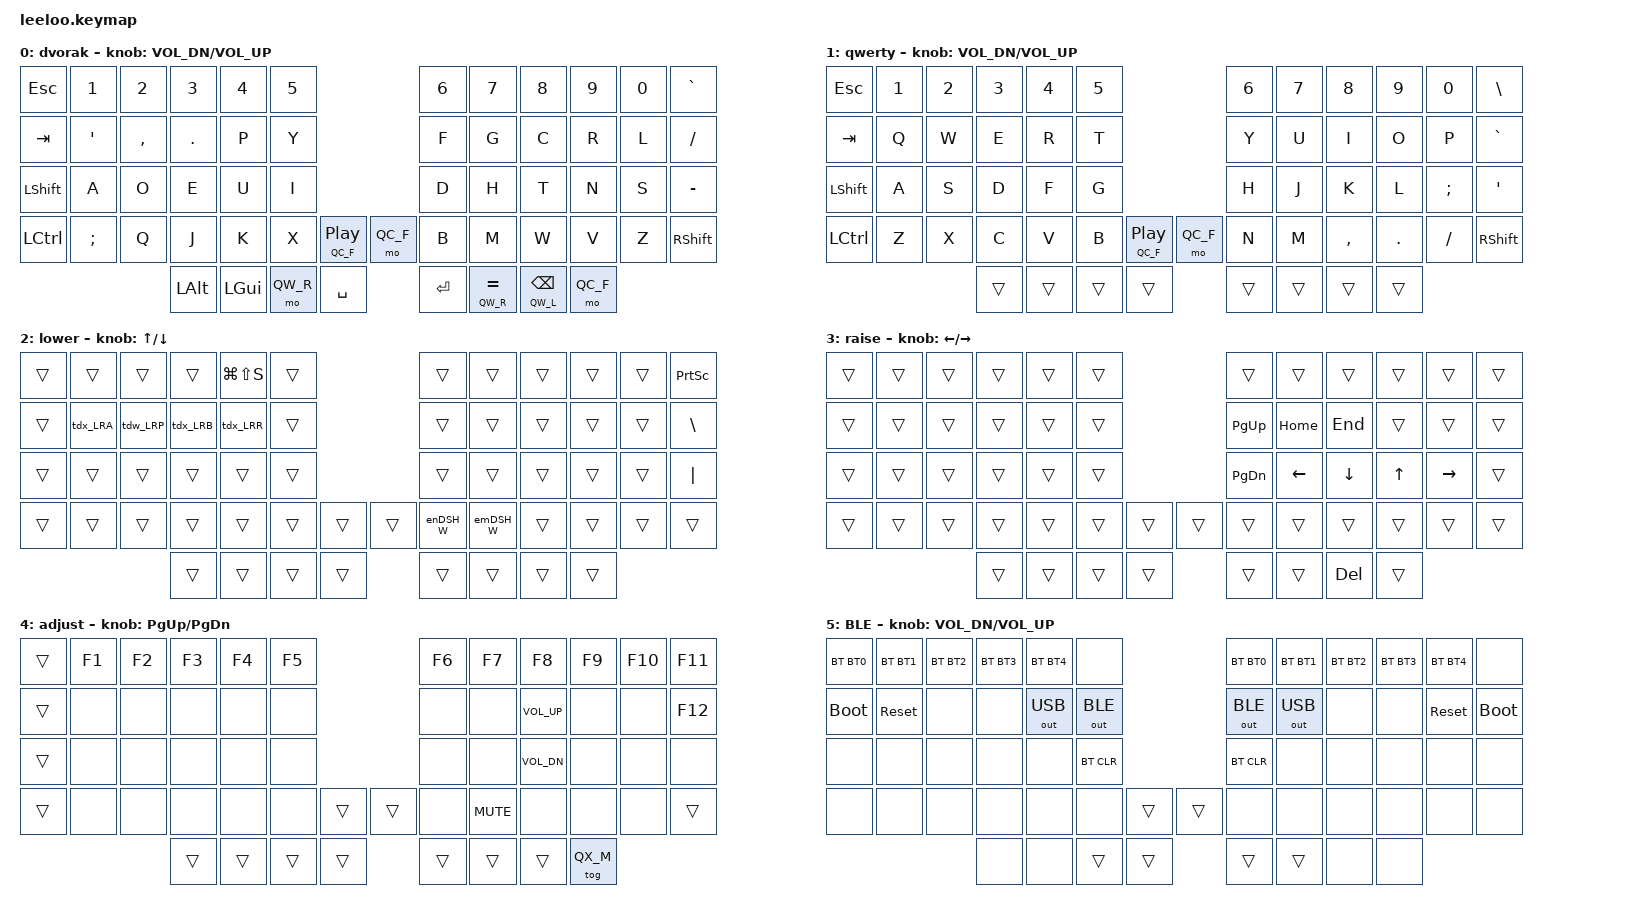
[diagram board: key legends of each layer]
/*
 * Copyright (c) 2020 The ZMK Contributors
 *
 * SPDX-License-Identifier: MIT
 */
#include <behaviors.dtsi>
#include <dt-bindings/zmk/outputs.h>
#include <dt-bindings/zmk/keys.h>
#include <dt-bindings/zmk/bt.h>


// Layers
#define QW_M    0       // dvorak

#define QX_M    1       // qwerty

#define QW_L    2       // Lower
#define QW_R    3       // Raise
#define QW_A    4       // Adjust


#define QC_F    5       // Firmware


// Short versions
#define WIN_SC  LG(LS(S))
#define OSX_SC  LG(LS(N4))

#define enDSH_X LA(MINUS)
#define emDSH_X LS(LA(MINUS))

#define BT0     BT_SEL 0
#define BT1     BT_SEL 1
#define BT2     BT_SEL 2
#define BT3     BT_SEL 3
#define BT4     BT_SEL 4

#define VOLUP   C_VOL_UP
#define VOLDN   C_VOL_DN
#define VOLMT   C_MUTE


/*
 * Assign the cs-gpios pin to 4.
 * Uncomment these next few lines if implementing nice!view Displays
 */
// nice_view_spi: &spi0 {
//    compatible = "nordic,nrf-spim";
//    pinctrl-0 = <&spi0_default>;
//    pinctrl-1 = <&spi0_sleep>;
//    pinctrl-names = "default", "sleep";
//    cs-gpios = <&pro_micro 4 GPIO_ACTIVE_HIGH>;
// };


// Rotary Encoder Resolution
&left_encoder { resolution = <2>; };
&right_encoder { resolution = <2>; };

/ {
    conditional_layers {
        compatible = "zmk,conditional-layers";
        adjust_dvorak_layer {
            if-layers = <QW_L QW_R>;
            then-layer = <QW_A>;
        };
    };

    combos {
        compatible = "zmk,combos";

        // combo_quit_app_win {
        //     timeout-ms = <50>;
        //     key-positions = <13 17>;
        //     layers = <QW_M>;
        //     bindings = <&kp LA(F4)>;
        // };

        combo_shift_gui {
            timeout-ms = <50>;
            key-positions = <24 51>;
            layers = <QW_M>;
            bindings = <&kp LG(LSHIFT)>;
        };
        combo_ctrl_shift_gui {
            timeout-ms = <50>;
            key-positions = <24 36 51>;
            layers = <QW_M>;
            bindings = <&kp LG(LC(LSHIFT))>;
        };
    };

    macros {
        enDSH_W: en_Dash {
            label = "enDSH_W";
            compatible = "zmk,behavior-macro";
            #binding-cells = <0>;
            wait-ms = <20>;
            tap-ms = <20>;
            bindings
                = <&macro_press   &kp LALT>
                , <&macro_tap     &kp KP_N0 &kp KP_N1 &kp KP_N5 &kp KP_N0>
                , <&macro_release &kp LALT>
                ;
        };

        emDSH_W: em_Dash {
            label = "emDSH_W";
            compatible = "zmk,behavior-macro";
            #binding-cells = <0>;
            wait-ms = <20>;
            tap-ms = <20>;
            bindings
                = <&macro_press   &kp LALT>
                , <&macro_tap     &kp KP_N0 &kp KP_N1 &kp KP_N5 &kp KP_N1>
                , <&macro_release &kp LALT>
                ;
        };
    };

    behaviors {
        tdw_Q: tap_dance_0 {
            compatible = "zmk,behavior-tap-dance";
            label = "WIN_QUIT";
            #binding-cells = <0>;
            tapping-term-ms = <200>;
            bindings = <&kp Q>, <&kp LA(F4)>;
        };

        tdw_LRP: tap_dance_1 {
            compatible = "zmk,behavior-tap-dance";
            label = "WIN_LRPAR";
            #binding-cells = <0>;
            tapping-term-ms = <200>;
            bindings = <&kp LPAR>, <&kp RPAR>;
        };

        tdx_LRB: tap_dance_2 {
            compatible = "zmk,behavior-tap-dance";
            label = "WIN_LRBKT";
            #binding-cells = <0>;
            tapping-term-ms = <200>;
            bindings = <&kp LBKT>, <&kp RBKT>;
        };

        tdx_LRR: tap_dance_3 {
            compatible = "zmk,behavior-tap-dance";
            label = "WIN_LRBRC";
            #binding-cells = <0>;
            tapping-term-ms = <200>;
            bindings = <&kp LBRC>, <&kp RBRC>;
        };

        tdx_LRA: tap_dance_4 {
            compatible = "zmk,behavior-tap-dance";
            label = "WIN_LRANG";
            #binding-cells = <0>;
            tapping-term-ms = <200>;
            bindings = <&kp LT>, <&kp GT>;
        };
    };

    keymap {
        compatible = "zmk,keymap";

        default_dvorak_layer {
            label = " dvorak";
// dvorak
// ------------------------------------------------------------------------------------------------------------
// |  ESC  |  1  |  2  |  3   |  4   |  5   |                   |  6   |  7    |  8    |  9   |   0   |   `   |
// |  TAB  |  '  |  ,  |  .   |  P   |  Y   |                   |  F   |  G    |  C    |  R   |   L   |   /   |
// | SHIFT |  A  |  O  |  E   |  U   |  I   |                   |  D   |  H    |  T    |  N   |   S   |   -   |
// |  CTRL |  ;  |  Q  |  J   |  K   |  X   |  Play  |  |  NUM  |  B   |  M    |  W    |  V   |   Z   | SHIFT |
//                     | ALT  | GUI  |  ??  |  SPACE |  | ENTER |  ??  | BSPC  | RCTL |
            bindings = <
&kp ESC    &kp N1     &kp N2     &kp N3     &kp N4     &kp N5                           &kp N6     &kp N7     &kp N8     &kp N9     &kp N0     &kp GRAV  // 0-11
&kp TAB    &kp SQT    &kp COMMA  &kp DOT    &kp P      &kp Y                            &kp F      &kp G      &kp C      &kp R      &kp L      &kp FSLH  // 12-23
&kp LSHIFT &kp A      &kp O      &kp E      &kp U      &kp I                            &kp D      &kp H      &kp T      &kp N      &kp S      &kp MINUS // 24-35
&kp LCTRL  &kp SEMI   &kp Q      &kp J      &kp K      &kp X  &lt QC_F C_PP  &mo QC_F   &kp B      &kp M      &kp W      &kp V      &kp Z      &kp RSHFT // 36-49
                                 &kp LALT   &kp LGUI   &mo QW_R  &kp SPACE   &kp RET    &lt QW_R EQUAL &lt QW_L BSPC &mo QC_F                                // 50-58
            >;

            sensor-bindings = <&inc_dec_kp C_VOL_DN C_VOL_UP>;
        };


        default_qwerty_layer {
            label = " qwerty";
            bindings = <
&kp ESC    &kp N1     &kp N2     &kp N3     &kp N4     &kp N5                           &kp N6     &kp N7     &kp N8     &kp N9     &kp N0     &kp BSLH
&kp TAB    &kp Q      &kp W      &kp E      &kp R      &kp T                            &kp Y      &kp U      &kp I      &kp O      &kp P      &kp GRAV
&kp LSHFT  &kp A      &kp S      &kp D      &kp F      &kp G                            &kp H      &kp J      &kp K      &kp L      &kp SEMI   &kp SQT
&kp LCTRL  &kp Z      &kp X      &kp C      &kp V      &kp B  &lt QC_F C_PP &mo QC_F    &kp N      &kp M      &kp COMMA  &kp DOT    &kp FSLH   &kp RSHFT
                                     &trans     &trans     &trans     &trans      &trans    &trans     &trans     &trans
            >;

            sensor-bindings = <&inc_dec_kp C_VOL_DN C_VOL_UP>;
        };

        lower_dvorak_layer {
            label = " lower";
            bindings = <
&trans         &trans     &trans     &trans     &kp WIN_SC &trans                           &trans     &trans     &trans     &trans     &trans     &kp PSCRN
&trans         &tdx_LRA   &tdw_LRP   &tdx_LRB   &tdx_LRR   &trans                           &trans     &trans     &trans     &trans     &trans     &kp BSLH
&trans         &trans     &trans     &trans     &trans     &trans                           &trans     &trans     &trans     &trans     &trans     &kp PIPE
&trans         &trans     &trans     &trans     &trans     &trans     &trans      &trans    &enDSH_W   &emDSH_W   &trans     &trans     &trans     &trans
                                     &trans     &trans     &trans     &trans      &trans    &trans     &trans     &trans
            >;

            sensor-bindings = <&inc_dec_kp UP DOWN>;
        };

        raise_dvorak_layer {
            label = " raise";
            bindings = <
&trans     &trans     &trans     &trans     &trans     &trans                           &trans     &trans     &trans     &trans     &trans     &trans
&trans     &trans     &trans     &trans     &trans     &trans                           &kp PG_UP  &kp HOME   &kp END    &trans     &trans     &trans
&trans     &trans     &trans     &trans     &trans     &trans                           &kp PG_DN  &kp LEFT   &kp DOWN   &kp UP     &kp RIGHT  &trans
&trans     &trans     &trans     &trans     &trans     &trans     &trans      &trans    &trans     &trans     &trans     &trans     &trans     &trans
                                 &trans     &trans     &trans     &trans      &trans    &trans     &kp DEL    &trans
            >;

            sensor-bindings = <&inc_dec_kp LEFT RIGHT>;
        };

        adjust_dvorak_layer {
            label = " adjust";
            bindings = <
&trans     &kp F1     &kp F2     &kp F3     &kp F4     &kp F5                           &kp F6     &kp F7     &kp F8     &kp F9     &kp F10    &kp F11
&trans     &none      &none      &none      &none      &none                            &none      &none      &kp VOLUP  &none      &none      &kp F12
&trans     &none      &none      &none      &none      &none                            &none      &none      &kp VOLDN  &none      &none      &none
&trans     &none      &none      &none      &none      &none      &trans      &trans    &none      &kp VOLMT  &none      &none      &none      &trans
                                 &trans     &trans     &trans     &trans      &trans    &trans     &trans     &tog QX_M
            >;

            sensor-bindings = <&inc_dec_kp PG_UP PG_DN>;
        };

        firmware_layer {
            label = " BLE";
            bindings = <
&bt BT0     &bt BT1    &bt BT2    &bt BT3    &bt BT4           &none                                &bt BT0          &bt BT1           &bt BT2    &bt BT3    &bt BT4    &none
&bootloader &sys_reset &none      &none      &out OUT_USB      &out OUT_BLE                         &out OUT_BLE     &out OUT_USB      &none      &none      &sys_reset &bootloader
&none       &none      &none      &none      &none             &bt BT_CLR                           &bt BT_CLR       &none             &none      &none      &none      &none
&none       &none      &none      &none      &none             &none          &trans       &trans   &none            &none             &none      &none      &none      &none
                                  &none      &none             &trans         &trans       &trans   &trans           &none        &none
            >;

            sensor-bindings = <&inc_dec_kp C_VOL_DN C_VOL_UP>;
        };
    };
};
